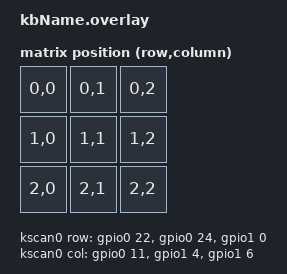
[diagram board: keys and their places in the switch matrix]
#include <dt-bindings/zmk/matrix_transform.h>

/ {
    chosen {
        zmk,kscan = &kscan0;
        zmk,matrix_transform = &default_transform;
        // WICHTIG: Die Zeile zephyr,display NICHT hier einfügen, 
        // das macht das nice_view Shield schon für dich!
    };

    default_transform: keymap_transform_0 {
        compatible = "zmk,matrix-transform";
        columns = <3>;
        rows = <3>;
        map = <
            RC(0,0) RC(0,1) RC(0,2)
            RC(1,0) RC(1,1) RC(1,2)
            RC(2,0) RC(2,1) RC(2,2)
        >;
    };

    kscan0: kscan_0 {
        compatible = "zmk,kscan-gpio-matrix";
        label = "KSCAN";
        diode-direction = "col2row"; 

        row-gpios
            = <&gpio0 22 (GPIO_ACTIVE_HIGH | GPIO_PULL_DOWN)>
            , <&gpio0 24 (GPIO_ACTIVE_HIGH | GPIO_PULL_DOWN)>
            , <&gpio1 0  (GPIO_ACTIVE_HIGH | GPIO_PULL_DOWN)>
            ;

        col-gpios
            = <&gpio0 11 GPIO_ACTIVE_HIGH>
            , <&gpio1 4  GPIO_ACTIVE_HIGH>
            , <&gpio1 6  GPIO_ACTIVE_HIGH>
            ;
    };
};

// --- ALLES UNTERHALB HIER LÖSCHEN ---
// Das nice_view_adapter Shield kümmert sich um den Rest.
// Du musst nur sicherstellen, dass dein CS-Pin physikalisch an P0.06 (D1) hängt.
